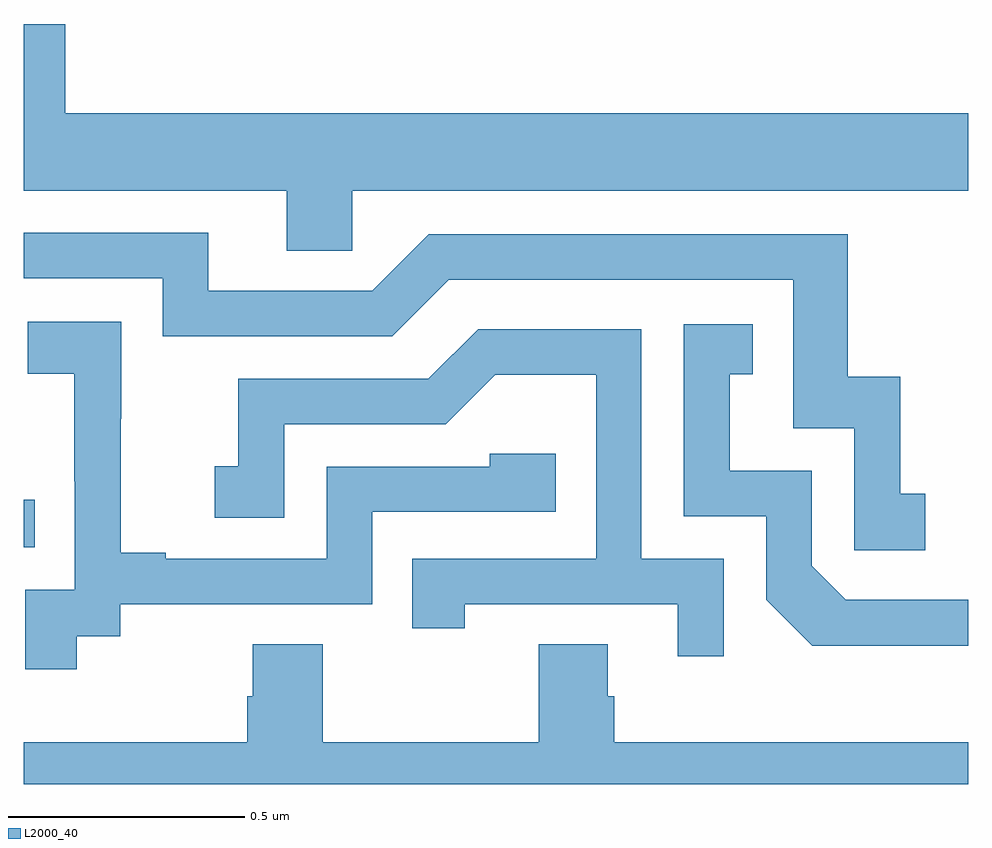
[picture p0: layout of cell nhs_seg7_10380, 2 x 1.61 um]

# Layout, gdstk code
import gdstk
lib = gdstk.Library(unit=1e-6, precision=1e-09)
def R(c, l, rs):  # rectangles x0, y0, x1, y1
    for r in rs: c.add(gdstk.rectangle(r[:2], r[2:], *l))
def P(c, l, *ps):  # polygons
    for p in ps: c.add(gdstk.Polygon(p, *l))
L2000_40 = (2000, 40)

nhs_seg7_10380 = lib.new_cell('nhs_seg7_10380')
R(nhs_seg7_10380, L2000_40, [(249,1026.501,249.023,1026.602)])
P(nhs_seg7_10380, L2000_40, [(249.696,1027.256),(251,1027.256),(251,1027.42),(249.088,1027.42),(249.088,1027.609),(249,1027.609),(249,1027.256),(249.557,1027.256),(249.557,1027.129),(249.696,1027.129)],
  [(250.909,1026.615),(250.856,1026.615),(250.856,1026.862),(250.745,1026.862),(250.745,1027.164),(249.858,1027.164),(249.738,1027.044),(249.391,1027.044),(249.391,1027.167),(249,1027.167),(249,1027.071),(249.294,1027.071),(249.294,1026.948),(249.78,1026.948),(249.9,1027.068),(250.629,1027.068),(250.629,1026.753),(250.758,1026.753),(250.758,1026.495),(250.909,1026.495)],
  [(249.112,1026.313),(249.204,1026.313),(249.204,1026.381),(249.738,1026.381),(249.738,1026.576),(250.127,1026.576),(250.127,1026.699),(249.987,1026.699),(249.987,1026.672),(249.642,1026.672),(249.642,1026.477),(249.301,1026.477),(249.301,1026.49),(249.206,1026.49),(249.206,1026.773),(249.207,1026.773),(249.207,1026.979),(249.009,1026.979),(249.009,1026.869),(249.107,1026.869),(249.107,1026.641),(249.108,1026.641),(249.108,1026.411),(249.003,1026.411),(249.003,1026.243),(249.112,1026.243)],
  [(251,1026.39),(250.74,1026.39),(250.668,1026.462),(250.668,1026.663),(250.495,1026.663),(250.495,1026.867),(250.544,1026.867),(250.544,1026.973),(250.398,1026.973),(250.398,1026.567),(250.572,1026.567),(250.572,1026.39),(250.67,1026.293),(251,1026.293)],
  [(250.482,1026.477),(250.308,1026.477),(250.308,1026.963),(249.962,1026.963),(249.857,1026.858),(249.454,1026.858),(249.454,1026.673),(249.405,1026.673),(249.405,1026.564),(249.552,1026.564),(249.552,1026.762),(249.894,1026.762),(249.998,1026.866),(250.212,1026.866),(250.212,1026.477),(249.823,1026.477),(249.823,1026.33),(249.934,1026.33),(249.934,1026.381),(250.385,1026.381),(250.385,1026.27),(250.482,1026.27)],
  [(251,1026.088),(250.25,1026.088),(250.25,1026.186),(250.237,1026.186),(250.237,1026.296),(250.09,1026.296),(250.09,1026.088),(249.633,1026.088),(249.633,1026.296),(249.485,1026.296),(249.485,1026.186),(249.473,1026.186),(249.473,1026.088),(249,1026.088),(249,1026),(251,1026)])

lib.write_gds('nhs_seg7_10380.gds')
